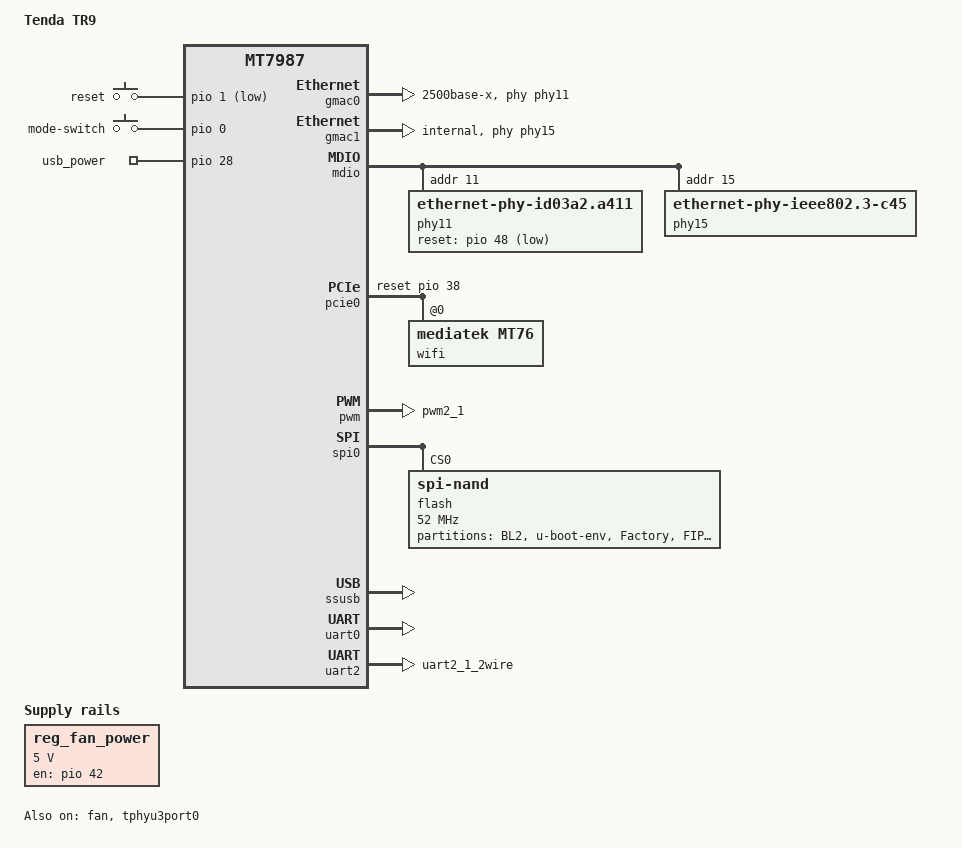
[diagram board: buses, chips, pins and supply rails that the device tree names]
// SPDX-License-Identifier: (GPL-2.0 OR MIT)

/dts-v1/;
#include <dt-bindings/input/input.h>

#include "mt7987a.dtsi"

/ {
	model = "Tenda TR9";
	compatible = "tenda,tr9", "mediatek,mt7987a", "mediatek,mt7987";

	aliases {
		serial0 = &uart0;
		label-mac-device = &gmac0;
	};

	chosen {
		bootargs-override = "console=ttyS0,115200n1 loglevel=8 earlycon=uart8250,mmio32,0x11000000 pci=pcie_bus_perf";
		stdout-path = "serial0:115200n8";
	};

	reg_fan_power: regulator-fan-power {
		compatible = "regulator-fixed";
		enable-active-high;
		gpios = <&pio 42 GPIO_ACTIVE_HIGH>;
		regulator-name = "fan-power";
		regulator-min-microvolt = <5000000>;
		regulator-max-microvolt = <5000000>;
	};

	gpio-keys {
		compatible = "gpio-keys";

		reset {
			label = "reset";
			linux,code = <KEY_RESTART>;
			gpios = <&pio 1 GPIO_ACTIVE_LOW>;
			debounce-interval = <10>;
		};

		mode-switch {
			label = "mode-switch";
			linux,code = <BTN_0>;
			linux,input-type = <EV_SW>;
			gpios = <&pio 0 GPIO_ACTIVE_HIGH>;
			debounce-interval = <50>;
		};
	};

	gpio-export {
		compatible = "gpio-export";

		usb-power {
			gpio-export,name = "usb_power";
			gpio-export,output = <0>;
			gpios = <&pio 28 GPIO_ACTIVE_HIGH>;
		};
	};
};

&cpu_thermal {
	cooling-maps {
		cpu-active-high {
			cooling-device = <&fan 8 8>;
		};

		cpu-active-low {
			cooling-device = <&fan 4 4>;
		};

		cpu-passive {
			cooling-device = <&fan 0 0>;
		};
	};
};

&fan {
	cooling-levels = <0 32 64 96 128 150 192 224 255>;
	fan-supply = <&reg_fan_power>;
	interrupt-parent = <&pio>;
	interrupts = <43 IRQ_TYPE_EDGE_FALLING>;
	pulses-per-revolution = <2>;
	pwms = <&pwm 2 50000 0>;
	status = "okay";
};

&gmac0 {
	nvmem-cells = <&macaddr_factory_4 (-2)>;
	nvmem-cell-names = "mac-address";
	phy-handle = <&phy11>;
	phy-mode = "2500base-x";
	status = "okay";
};

&gmac1 {
	nvmem-cells = <&macaddr_factory_4 (-1)>;
	nvmem-cell-names = "mac-address";
	phy-handle = <&phy15>;
	phy-mode = "internal";
	status = "okay";
};

&mdio {
	phy11: ethernet-phy@b {
		compatible = "ethernet-phy-id03a2.a411";
		reg = <11>;
		reset-assert-us = <10000>;
		reset-deassert-us = <20000>;
		reset-gpios = <&pio 48 GPIO_ACTIVE_LOW>;
	};

	phy15: ethernet-phy@f {
		compatible = "ethernet-phy-ieee802.3-c45";
		reg = <15>;
		pinctrl-names = "i2p5gbe-led";
		pinctrl-0 = <&i2p5gbe_led0_pins>;
	};
};

&pcie0 {
	pinctrl-names = "default";
	pinctrl-0 = <&pcie0_pins>;
	reset-gpios = <&pio 38 GPIO_ACTIVE_HIGH>;
	status = "okay";

	pcie@0,0 {
		reg = <0x0000 0 0 0 0>;
		#address-cells = <3>;
		#size-cells = <2>;

		wifi@0,0 {
			compatible = "mediatek,mt76";
			reg = <0x0000 0 0 0 0>;

			nvmem-cells = <&eeprom_factory_0>;
			nvmem-cell-names = "eeprom";
		};
	};
};

&pio {
	fan_pwm2_pins: fan-pwm2-pins {
		mux {
			function = "pwm";
			groups = "pwm2_1";
		};
	};

	uart2_pins: uart2-pins {
		mux {
			function = "uart";
			groups = "uart2_1_2wire";
		};
	};
};

&pwm {
	pinctrl-names = "default";
	pinctrl-0 = <&fan_pwm2_pins>;
	status = "okay";
};

&spi0 {
	pinctrl-names = "default";
	pinctrl-0 = <&spi0_flash_pins>;
	status = "okay";

	flash@0 {
		compatible = "spi-nand";
		reg = <0>;
		spi-max-frequency = <52000000>;
		spi-tx-bus-width = <4>;
		spi-rx-bus-width = <4>;

		spi-cal-enable;
		spi-cal-mode = "read-data";
		spi-cal-datalen = <7>;
		spi-cal-data = /bits/ 8 <0x53 0x50 0x49 0x4e 0x41 0x4e 0x44>;
		spi-cal-addrlen = <5>;
		spi-cal-addr = /bits/ 32 <0x0 0x0 0x0 0x0 0x0>;

		mediatek,nmbm;
		mediatek,bmt-max-ratio = <1>;
		mediatek,bmt-max-reserved-blocks = <64>;

		partitions {
			compatible = "fixed-partitions";
			#address-cells = <1>;
			#size-cells = <1>;

			partition@0 {
				label = "BL2";
				reg = <0x0000000 0x0100000>;
				read-only;
			};

			partition@100000 {
				label = "u-boot-env";
				reg = <0x0100000 0x0080000>;
			};

			partition@180000 {
				label = "Factory";
				reg = <0x0180000 0x0400000>;

				nvmem-layout {
					compatible = "fixed-layout";
					#address-cells = <1>;
					#size-cells = <1>;

					eeprom_factory_0: eeprom@0 {
						reg = <0x0 0x1e00>;
					};

					macaddr_factory_4: macaddr@4 {
						compatible = "mac-base";
						reg = <0x4 0x6>;
						#nvmem-cell-cells = <1>;
					};
				};
			};

			partition@580000 {
				label = "FIP";
				reg = <0x0580000 0x0200000>;
				read-only;
			};

			partition@780000 {
				label = "Factory_back";
				reg = <0x0780000 0x0400000>;
				read-only;
			};

			partition@b80000 {
				label = "log";
				reg = <0x0b80000 0x0480000>;
			};

			partition@1000000 {
				label = "recovery";
				reg = <0x1000000 0x1600000>;
			};

			partition@2600000 {
				label = "recovery_config_0";
				reg = <0x2600000 0x0100000>;
			};

			partition@2700000 {
				label = "recovery_config_1";
				reg = <0x2700000 0x0100000>;
			};

			partition@2800000 {
				compatible = "linux,ubi";
				label = "ubi";
				reg = <0x2800000 0xc800000>;
			};
		};
	};
};

&ssusb {
	status = "okay";
};

&tphyu3port0 {
	status = "okay";
};

&uart0 {
	pinctrl-names = "default";
	pinctrl-0 = <&uart0_pins>;
	status = "okay";
};

&uart2 {
	pinctrl-names = "default";
	pinctrl-0 = <&uart2_pins>;
	status = "okay";
};
